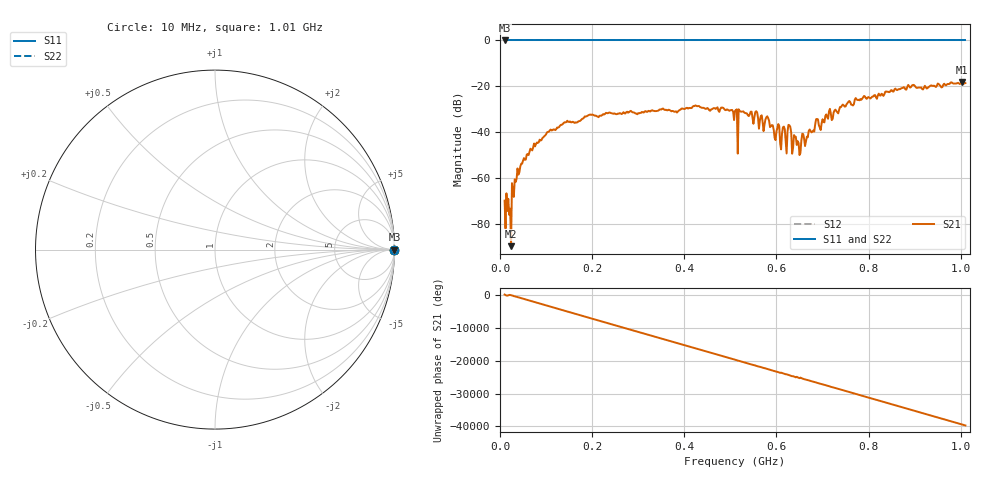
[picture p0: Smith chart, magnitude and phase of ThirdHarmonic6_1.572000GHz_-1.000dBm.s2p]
! 8/16/2025 6:41:55 PM
! C:\ANRITSUVNA\TEMP\TEMP.S2P
! CHANNEL.1
! TR.MEASUREMENT
! RAW.DATA
! RF.CORRECTION.OFF
! AVERAGING.OFF
! IF.BANDWIDTH: 5KHZ
! SWEEPTYPE:  FREQ.SWEEP(Linear)
! Reference Plane Port Info
! PORT:  PORT1  PORT2
! DISTANCE:  0  m  0  m
! TIME:  0  s  0  s
! PHASE.OFFSET:  0  deg.  0  deg.
! LOSS:  0  dB  0  dB
! REF.LOSS:  0  dB  0  dB
! REF.FREQ:  0  Hz  0  Hz
! Power Info
! POWER:  -20  dBm  -20  dBm
! EFF.POWER:  -20  dBm  -20  dBm
! SOURCE.ATTEN:  0  dB  0  dB
! TEST.ATTEN:  0  dB  0  dB
# GHZ S RI R 50.0
! FREQ.GHZ  S11RE  S11IM  S21RE  S21IM  S12RE  S12IM  S22RE  S22IM
!; PortSelection: Port_12
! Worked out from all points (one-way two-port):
!   501 points, 10 MHz to 1.01 GHz, reference 50 ohm
!   highest |S21| = -18.06 dB at 1.002 GHz (marker M1); lowest = -89.7 dB at 24 MHz (marker M2)
!   lowest |S11| = 0.0 dB at 10 MHz (marker M3)
!   |S11| at or under -10 dB: nowhere
!   |S22| runs from 0.0 to 0.0 dB; largest |S21 - S12| = 1.1
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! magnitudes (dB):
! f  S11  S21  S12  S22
! 10 MHz  0.0  -69.8  0.0  0.0
! 20 MHz  0.0  -76.0  0.0  0.0
! 24 MHz  0.0  -89.7  0.0  0.0
! 42 MHz  0.0  -57.6  0.0  0.0
! 70 MHz  0.0  -47.9  0.0  0.0
! 106 MHz  0.0  -39.8  0.0  0.0
! 178 MHz  0.0  -34.3  0.0  0.0
! 344 MHz  0.0  -30.6  0.0  0.0
! 510 MHz  0.0  -30.7  0.0  0.0
! 512 MHz  0.0  -30.3  0.0  0.0
! 520 MHz  0.0  -30.7  0.0  0.0
! 522 MHz  0.0  -31.0  0.0  0.0
! 580 MHz  0.0  -33.1  0.0  0.0
! 610 MHz  0.0  -47.5  0.0  0.0
! 628 MHz  0.0  -37.0  0.0  0.0
! 648 MHz  0.0  -44.7  0.0  0.0
! 678 MHz  0.0  -39.8  0.0  0.0
! 688 MHz  0.0  -34.2  0.0  0.0
! 756 MHz  0.0  -26.8  0.0  0.0
! 844 MHz  0.0  -22.6  0.0  0.0
! 1.002 GHz  0.0  -18.1  0.0  0.0
! 1.01 GHz  0.0  -18.6  0.0  0.0
